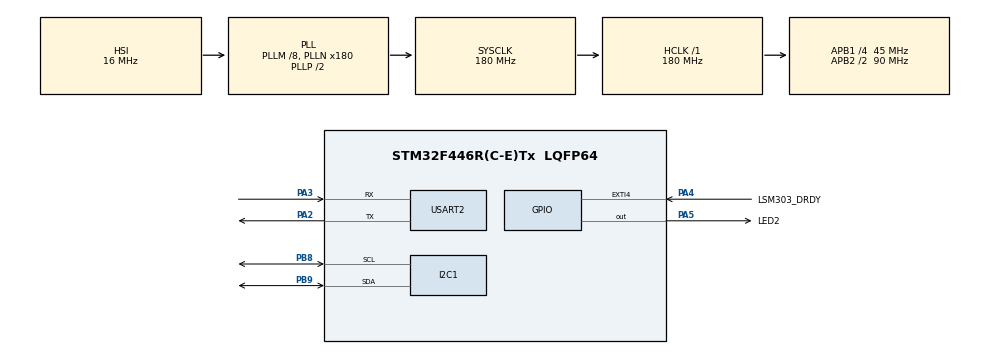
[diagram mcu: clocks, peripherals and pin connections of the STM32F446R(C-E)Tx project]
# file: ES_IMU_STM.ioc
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Dma.Request0=USART2_TX
Dma.USART2_TX.0.Direction=DMA_MEMORY_TO_PERIPH
Dma.USART2_TX.0.FIFOMode=DMA_FIFOMODE_DISABLE
Dma.USART2_TX.0.Instance=DMA1_Stream6
Dma.USART2_TX.0.MemDataAlignment=DMA_MDATAALIGN_BYTE
Dma.USART2_TX.0.MemInc=DMA_MINC_ENABLE
Dma.USART2_TX.0.Mode=DMA_NORMAL
Dma.USART2_TX.0.PeriphDataAlignment=DMA_PDATAALIGN_BYTE
Dma.USART2_TX.0.PeriphInc=DMA_PINC_DISABLE
Dma.USART2_TX.0.Priority=DMA_PRIORITY_LOW
FREERTOS.BinarySemaphores01=lsm303DrdyBinarySem,Dynamic,NULL
FREERTOS.Queues01=acquisitionToAlgorithmQueue,1,data_mems_t,0,Dynamic,NULL,NULL
FREERTOS.Tasks01=defaultTask,16,128,StartDefaultTask,Default,NULL,Dynamic,NULL,NULL;acquisitionTask,40,512,StartAcquisitionTask,Default,NULL,Dynamic,NULL,NULL;algorithmTask,32,512,StartAlgorithmTask,Default,NULL,Dynamic,NULL,NULL;logTask,24,512,StartLogTask,Default,NULL,Dynamic,NULL,NULL
FREERTOS.Timers01=acquisitionCycleTimer,acquisitionCycleTimerCallback,osTimerPeriodic,Default,NULL,Dynamic,NULL
FREERTOS.configENABLE_FPU=1
FREERTOS.configUSE_NEWLIB_REENTRANT=0
FREERTOS.configUSE_TICKLESS_IDLE=0
Mcu.Family=STM32F4
Mcu.Name=STM32F446R(C-E)Tx
Mcu.Package=LQFP64
NVIC.DMA1_Stream6_IRQn=true\:5\:0\:false\:false\:true\:true\:false\:true
NVIC.PriorityGroup=NVIC_PRIORITYGROUP_4
NVIC.TIM6_DAC_IRQn=true\:0\:0\:false\:false\:true\:false\:false\:true
NVIC.TimeBase=TIM6_DAC_IRQn
NVIC.TimeBaseIP=TIM6
NVIC.USART2_IRQn=true\:5\:0\:false\:false\:true\:true\:true\:true
PA2.Mode=Asynchronous
PA2.Signal=USART2_TX
PA3.Mode=Asynchronous
PA3.Signal=USART2_RX
PA4.GPIO_Label=LSM303_DRDY
PA4.Signal=GPXTI4
PA5.GPIO_Label=LED2
PA5.Signal=GPIO_Output
PB8.Mode=I2C
PB8.Signal=I2C1_SCL
PB9.Mode=I2C
PB9.Signal=I2C1_SDA
ProjectManager.HeapSize=0x200
ProjectManager.StackSize=0x400
ProjectManager.TargetToolchain=STM32CubeIDE
RCC.AHBFreq_Value=180000000
RCC.APB1CLKDivider=RCC_HCLK_DIV4
RCC.APB1Freq_Value=45000000
RCC.APB1TimFreq_Value=90000000
RCC.APB2CLKDivider=RCC_HCLK_DIV2
RCC.APB2Freq_Value=90000000
RCC.APB2TimFreq_Value=180000000
RCC.CortexFreq_Value=180000000
RCC.HCLKFreq_Value=180000000
RCC.PLLM=8
RCC.PLLN=180
RCC.SYSCLKFreq_VALUE=180000000
RCC.SYSCLKSource=RCC_SYSCLKSOURCE_PLLCLK
RCC.USBFreq_Value=180000000
RCC.VCOOutputFreq_Value=360000000
USART2.VirtualMode=VM_ASYNC
VP_FREERTOS_VS_CMSIS_V2.Mode=CMSIS_V2
VP_SYS_VS_tim6.Mode=TIM6
board=custom

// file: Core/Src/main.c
/* USER CODE BEGIN Header */
/**
 ******************************************************************************
 * @file           : main.c
 * @brief          : Main program body
 ******************************************************************************
 * @attention
 *
 * <h2><center>&copy; Copyright (c) 2020 STMicroelectronics.
 * All rights reserved.</center></h2>
 *
 * This software component is licensed by ST under BSD 3-Clause license,
 * the "License"; You may not use this file except in compliance with the
 * License. You may obtain a copy of the License at:
 *                        opensource.org/licenses/BSD-3-Clause
 *
 ******************************************************************************
 */
/* USER CODE END Header */
#include "main.h"
#include "cmsis_os.h"
#include "dma.h"
#include "i2c.h"
#include "usart.h"
#include "gpio.h"

void SystemClock_Config(void);
void MX_FREERTOS_Init(void);

int main(void)
{

  /* MCU Configuration--------------------------------------------------------*/

  /* Reset of all peripherals, Initializes the Flash interface and the Systick. */
  HAL_Init();

  /* Configure the system clock */
  SystemClock_Config();

  /* Initialize all configured peripherals */
  MX_GPIO_Init();
  MX_DMA_Init();
  MX_I2C1_Init();
  MX_USART2_UART_Init();

  /* Init scheduler */
  osKernelInitialize();  /* Call init function for freertos objects (in freertos.c) */
  MX_FREERTOS_Init();
  /* Start scheduler */
  osKernelStart();

  /* We should never get here as control is now taken by the scheduler */
  /* Infinite loop */
	while (1) {

	}
}

void SystemClock_Config(void)
{
  RCC_OscInitTypeDef RCC_OscInitStruct = {0};
  RCC_ClkInitTypeDef RCC_ClkInitStruct = {0};

  /** Configure the main internal regulator output voltage
  */
  __HAL_RCC_PWR_CLK_ENABLE();
  __HAL_PWR_VOLTAGESCALING_CONFIG(PWR_REGULATOR_VOLTAGE_SCALE1);
  /** Initializes the RCC Oscillators according to the specified parameters
  * in the RCC_OscInitTypeDef structure.
  */
  RCC_OscInitStruct.OscillatorType = RCC_OSCILLATORTYPE_HSI;
  RCC_OscInitStruct.HSIState = RCC_HSI_ON;
  RCC_OscInitStruct.HSICalibrationValue = RCC_HSICALIBRATION_DEFAULT;
  RCC_OscInitStruct.PLL.PLLState = RCC_PLL_ON;
  RCC_OscInitStruct.PLL.PLLSource = RCC_PLLSOURCE_HSI;
  RCC_OscInitStruct.PLL.PLLM = 8;
  RCC_OscInitStruct.PLL.PLLN = 180;
  RCC_OscInitStruct.PLL.PLLP = RCC_PLLP_DIV2;
  RCC_OscInitStruct.PLL.PLLQ = 2;
  RCC_OscInitStruct.PLL.PLLR = 2;
  if (HAL_RCC_OscConfig(&RCC_OscInitStruct) != HAL_OK)
  {
    Error_Handler();
  }
  /** Activate the Over-Drive mode
  */
  if (HAL_PWREx_EnableOverDrive() != HAL_OK)
  {
    Error_Handler();
  }
  /** Initializes the CPU, AHB and APB buses clocks
  */
  RCC_ClkInitStruct.ClockType = RCC_CLOCKTYPE_HCLK|RCC_CLOCKTYPE_SYSCLK
                              |RCC_CLOCKTYPE_PCLK1|RCC_CLOCKTYPE_PCLK2;
  RCC_ClkInitStruct.SYSCLKSource = RCC_SYSCLKSOURCE_PLLCLK;
  RCC_ClkInitStruct.AHBCLKDivider = RCC_SYSCLK_DIV1;
  RCC_ClkInitStruct.APB1CLKDivider = RCC_HCLK_DIV4;
  RCC_ClkInitStruct.APB2CLKDivider = RCC_HCLK_DIV2;

  if (HAL_RCC_ClockConfig(&RCC_ClkInitStruct, FLASH_LATENCY_5) != HAL_OK)
  {
    Error_Handler();
  }
}

 /**
  * @brief  Period elapsed callback in non blocking mode
  * @note   This function is called  when TIM6 interrupt took place, inside
  * HAL_TIM_IRQHandler(). It makes a direct call to HAL_IncTick() to increment
  * a global variable "uwTick" used as application time base.
  * @param  htim : TIM handle
  * @retval None
  */
void HAL_TIM_PeriodElapsedCallback(TIM_HandleTypeDef *htim)
{
  if (htim->Instance == TIM6) {
    HAL_IncTick();
  }
}

void Error_Handler(void)
{
  /* USER CODE BEGIN Error_Handler_Debug */
	/* User can add his own implementation to report the HAL error return state */
	HAL_GPIO_WritePin(LED2_GPIO_Port, LED2_Pin, GPIO_PIN_SET);
	while(1);
  /* USER CODE END Error_Handler_Debug */
}

/************************ (C) COPYRIGHT STMicroelectronics *****END OF FILE****/

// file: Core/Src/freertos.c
/* USER CODE BEGIN Header */
/**
  ******************************************************************************
  * File Name          : freertos.c
  * Description        : Code for freertos applications
  ******************************************************************************
  * @attention
  *
  * <h2><center>&copy; Copyright (c) 2020 STMicroelectronics.
  * All rights reserved.</center></h2>
  *
  * This software component is licensed by ST under Ultimate Liberty license
  * SLA0044, the "License"; You may not use this file except in compliance with
  * the License. You may obtain a copy of the License at:
  *                             www.st.com/SLA0044
  *
  ******************************************************************************
  */
/* USER CODE END Header */

#include "FreeRTOS.h"
#include "task.h"
#include "main.h"
#include "cmsis_os.h"

/* USER CODE BEGIN Includes */
#include <string.h>
#include <stdio.h>
#include "i2c.h"
#include "usart.h"
#include "retarget.h"
#include "lsm6dsl_reg.h"
#include "lsm303agr_reg.h"
#ifdef MADGWICK_C_CODED
#include "ahrs_madgwick.h"
#endif
#ifdef MADGWICK_MATLAB_CODED
#include "Algorithm.h"
#endif
/* USER CODE END Includes */

/* USER CODE BEGIN PTD */
typedef union {
	int16_t i16bit[3];
	uint8_t u8bit[6];
} axis3bit16_t;

typedef struct {
	float ax[3];
} axis3_t;

typedef union {
	int16_t i16bit;
	uint8_t u8bit[2];
} temp16_t;

typedef struct {
	axis3_t acc;
	axis3_t gyro;
	float temp;
} data_mems_t;

typedef enum {
	LSM6DSL_id = 0,
	LSM303AGR_XL_id,
	LSM303AGR_MG_id
} sensor_t;

typedef struct {
    float x;
    float y;
    float z;
    float w;
} quaternion_t;
/* USER CODE END PTD */

/* USER CODE BEGIN Variables */
extern UART_HandleTypeDef huart2;

/* Definitions for algorithmToLogQueue */
osMessageQueueId_t algorithmToLogQueueHandle;
const osMessageQueueAttr_t algorithmToLogQueue_attributes = {
  .name = "algorithmToLogQueue"
};
/* USER CODE END Variables */
/* Definitions for defaultTask */
osThreadId_t defaultTaskHandle;
const osThreadAttr_t defaultTask_attributes = {
  .name = "defaultTask",
  .priority = (osPriority_t) osPriorityBelowNormal,
  .stack_size = 128 * 4
};
/* Definitions for acquisitionTask */
osThreadId_t acquisitionTaskHandle;
const osThreadAttr_t acquisitionTask_attributes = {
  .name = "acquisitionTask",
  .priority = (osPriority_t) osPriorityHigh,
  .stack_size = 512 * 4
};
/* Definitions for algorithmTask */
osThreadId_t algorithmTaskHandle;
const osThreadAttr_t algorithmTask_attributes = {
  .name = "algorithmTask",
  .priority = (osPriority_t) osPriorityAboveNormal,
  .stack_size = 512 * 4
};
/* Definitions for logTask */
osThreadId_t logTaskHandle;
const osThreadAttr_t logTask_attributes = {
  .name = "logTask",
  .priority = (osPriority_t) osPriorityNormal,
  .stack_size = 512 * 4
};
/* Definitions for acquisitionToAlgorithmQueue */
osMessageQueueId_t acquisitionToAlgorithmQueueHandle;
const osMessageQueueAttr_t acquisitionToAlgorithmQueue_attributes = {
  .name = "acquisitionToAlgorithmQueue"
};
/* Definitions for acquisitionCycleTimer */
osTimerId_t acquisitionCycleTimerHandle;
const osTimerAttr_t acquisitionCycleTimer_attributes = {
  .name = "acquisitionCycleTimer"
};
/* Definitions for lsm303DrdyBinarySem */
osSemaphoreId_t lsm303DrdyBinarySemHandle;
const osSemaphoreAttr_t lsm303DrdyBinarySem_attributes = {
  .name = "lsm303DrdyBinarySem"
};

/* USER CODE BEGIN FunctionPrototypes */
static int32_t lsm6dsl_read(void *handle, uint8_t Reg, uint8_t *Bufp, uint16_t len);
static int32_t lsm6dsl_write(void *handle, uint8_t Reg, uint8_t *Bufp, uint16_t len);

static int32_t lsm303agr_mg_read(void *handle, uint8_t Reg, uint8_t *Bufp, uint16_t len);
static int32_t lsm303agr_mg_write(void *handle, uint8_t Reg, uint8_t *Bufp,	uint16_t len);
/* USER CODE END FunctionPrototypes */

void StartDefaultTask(void *argument);
void StartAcquisitionTask(void *argument);
void StartAlgorithmTask(void *argument);
void StartLogTask(void *argument);
void acquisitionCycleTimerCallback(void *argument);

void MX_FREERTOS_Init(void); /* (MISRA C 2004 rule 8.1) */

void MX_FREERTOS_Init(void) {

  /* Create the semaphores(s) */
  /* creation of lsm303DrdyBinarySem */
  lsm303DrdyBinarySemHandle = osSemaphoreNew(1, 1, &lsm303DrdyBinarySem_attributes);

  /* Create the timer(s) */
  /* creation of acquisitionCycleTimer */
  acquisitionCycleTimerHandle = osTimerNew(acquisitionCycleTimerCallback, osTimerPeriodic, NULL, &acquisitionCycleTimer_attributes);

  /* Create the queue(s) */
  /* creation of acquisitionToAlgorithmQueue */
  acquisitionToAlgorithmQueueHandle = osMessageQueueNew (1, sizeof(data_mems_t), &acquisitionToAlgorithmQueue_attributes);

  /* USER CODE BEGIN RTOS_QUEUES */
#ifdef MADGWICK_C_CODED
  algorithmToLogQueueHandle = osMessageQueueNew (1, sizeof(euler_ang_t), &algorithmToLogQueue_attributes);
#endif

#ifdef MADGWICK_MATLAB_CODED
  algorithmToLogQueueHandle = osMessageQueueNew (1, sizeof(quaternion_t), &algorithmToLogQueue_attributes);
#endif
  /* add queues, ... */
  /* USER CODE END RTOS_QUEUES */

  /* Create the thread(s) */
  /* creation of defaultTask */
  defaultTaskHandle = osThreadNew(StartDefaultTask, NULL, &defaultTask_attributes);

  /* creation of acquisitionTask */
  acquisitionTaskHandle = osThreadNew(StartAcquisitionTask, NULL, &acquisitionTask_attributes);

  /* creation of algorithmTask */
  algorithmTaskHandle = osThreadNew(StartAlgorithmTask, NULL, &algorithmTask_attributes);

  /* creation of logTask */
  logTaskHandle = osThreadNew(StartLogTask, NULL, &logTask_attributes);

}

void StartDefaultTask(void *argument)
{
  /* USER CODE BEGIN StartDefaultTask */
  /* Infinite loop */
  for(;;)
  {
    osDelay(10);
  }
  /* USER CODE END StartDefaultTask */
}

void StartAcquisitionTask(void *argument)
{
  /* USER CODE BEGIN StartAcquisitionTask */
	osStatus_t status = osOK;

	axis3bit16_t acc_raw;
	axis3bit16_t gyro_raw;
	axis3bit16_t magneto_raw;
	temp16_t temp_raw;

	data_mems_t data_mems;

	// Set handles for sensor communication
	stmdev_ctx_t lsm6dsl_ctx;
	lsm6dsl_ctx.write_reg = lsm6dsl_write;
	lsm6dsl_ctx.read_reg = lsm6dsl_read;
	lsm6dsl_ctx.handle = &hi2c1;

	stmdev_ctx_t lsm303agr_ctx;
	lsm303agr_ctx.write_reg = lsm303agr_mg_write;
	lsm303agr_ctx.read_reg = lsm303agr_mg_read;
	lsm303agr_ctx.handle = &hi2c1;

	uint8_t whoamI = 0, rst = 0;

	// Test communication with the sensors and reset their settings
	lsm6dsl_device_id_get(&lsm6dsl_ctx, &whoamI);
	if (whoamI != LSM6DSL_ID) {
		Error_Handler();
	} else {
		lsm6dsl_reset_set(&lsm6dsl_ctx, PROPERTY_ENABLE);
		do {
			lsm6dsl_reset_get(&lsm6dsl_ctx, &rst);
		} while (rst);
		rst = 0;
	}

	lsm303agr_mag_device_id_get(&lsm303agr_ctx, &whoamI);
	if (whoamI != LSM303AGR_ID_MG) {
		Error_Handler();
	} else {
		lsm303agr_mag_reset_set(&lsm303agr_ctx, PROPERTY_ENABLE);
		do {
			lsm303agr_mag_reset_get(&lsm303agr_ctx, &rst);
		} while (rst);
		rst = 0;
	}

	lsm6dsl_block_data_update_set(&lsm6dsl_ctx, PROPERTY_ENABLE);
	lsm6dsl_xl_data_rate_set(&lsm6dsl_ctx, LSM6DSL_XL_ODR_104Hz);
	lsm6dsl_gy_data_rate_set(&lsm6dsl_ctx, LSM6DSL_GY_ODR_104Hz);
	lsm6dsl_xl_full_scale_set(&lsm6dsl_ctx, LSM6DSL_4g);
	lsm6dsl_gy_full_scale_set(&lsm6dsl_ctx, LSM6DSL_2000dps);

	lsm303agr_mag_block_data_update_set(&lsm303agr_ctx, PROPERTY_ENABLE);
	lsm303agr_mag_data_rate_set(&lsm303agr_ctx, LSM303AGR_MG_ODR_10Hz);
	lsm303agr_mag_set_rst_mode_set(&lsm303agr_ctx, LSM303AGR_SENS_OFF_CANC_EVERY_ODR);
	lsm303agr_mag_operating_mode_set(&lsm303agr_ctx, LSM303AGR_CONTINUOUS_MODE);

	osTimerStart(acquisitionCycleTimerHandle, 10U);

	/* Infinite loop */
  for(;;)
  {
  	status = osSemaphoreAcquire(lsm303DrdyBinarySemHandle, osWaitForever);

  	if (status == osOK) {
  	  lsm6dsl_acceleration_raw_get(&lsm6dsl_ctx, acc_raw.u8bit);
  	  lsm6dsl_angular_rate_raw_get(&lsm6dsl_ctx, gyro_raw.u8bit);
  	  lsm303agr_magnetic_raw_get(&lsm303agr_ctx, magneto_raw.u8bit);
  		lsm6dsl_temperature_raw_get(&lsm6dsl_ctx, temp_raw.u8bit);

			data_mems.acc.ax[0] = lsm6dsl_from_fs4g_to_mg(acc_raw.i16bit[0])*0.001;
			data_mems.acc.ax[1] = lsm6dsl_from_fs4g_to_mg(acc_raw.i16bit[1])*0.001;
			data_mems.acc.ax[2] = lsm6dsl_from_fs4g_to_mg(acc_raw.i16bit[2])*0.001;

			data_mems.gyro.ax[0] = lsm6dsl_from_fs2000dps_to_mdps(gyro_raw.i16bit[0])*0.001;
			data_mems.gyro.ax[1] = lsm6dsl_from_fs2000dps_to_mdps(gyro_raw.i16bit[1])*0.001;
			data_mems.gyro.ax[2] = lsm6dsl_from_fs2000dps_to_mdps(gyro_raw.i16bit[2])*0.001;

			for (size_t axes_it = 0; axes_it < 3; axes_it++)
			{
				data_mems.gyro.ax[axes_it] = ((data_mems.gyro.ax[axes_it] < 0.1) && (data_mems.gyro.ax[axes_it] > 0.1)) ? data_mems.gyro.ax[axes_it] : 0;
			}

			data_mems.temp = lsm6dsl_from_lsb_to_celsius(temp_raw.i16bit);

  		osMessageQueuePut(acquisitionToAlgorithmQueueHandle, &data_mems, 0U, 0U);
  	}

    osDelay(8);
  }

  /* USER CODE END StartAcquisitionTask */
}

void StartAlgorithmTask(void *argument)
{
  /* USER CODE BEGIN StartAlgorithmTask */
#ifdef MADGWICK_C_CODED
	osStatus_t status;

	data_mems_t data_mems;
	euler_ang_t euler_ang;

//	Algorithm_initialize();
  /* Infinite loop */
  for(;;)
  {
  	status = osMessageQueueGet(acquisitionToAlgorithmQueueHandle, &data_mems, NULL, 0U);   // wait for message

  	if (status == osOK)
  	{
  		MadgwickAHRSupdateIMU(data_mems.gyro.ax[0], data_mems.gyro.ax[1], data_mems.gyro.ax[2], data_mems.acc.ax[0], data_mems.acc.ax[1], data_mems.acc.ax[2]);
  		ToEulerAngles(&euler_ang);

			status = osMessageQueuePut(algorithmToLogQueueHandle, &euler_ang, 0U, 0U);
  	}
    osDelay(8);
  }
#endif

#ifdef MADGWICK_MATLAB_CODED
    osStatus_t status;

    data_mems_t data_mems;
  	quaternion_t quaternion;

  	Algorithm_initialize();
    /* Infinite loop */
    for(;;)
    {
    	status = osMessageQueueGet(acquisitionToAlgorithmQueueHandle, &data_mems, NULL, 0U);   // wait for message

    	if (status == osOK)
    	{
			Algorithm_U.AccX = data_mems.acc.ax[0];
			Algorithm_U.AccY = data_mems.acc.ax[1];
			Algorithm_U.AccZ = data_mems.acc.ax[2];
			Algorithm_U.GyroX = data_mems.gyro.ax[0];
			Algorithm_U.GyroY = data_mems.gyro.ax[1];
			Algorithm_U.GyroZ = data_mems.gyro.ax[2];

  			Algorithm_step();
  			quaternion.w = Algorithm_Y.Quat[0];
  			quaternion.x = Algorithm_Y.Quat[1];
  			quaternion.y = Algorithm_Y.Quat[2];
  			quaternion.z = Algorithm_Y.Quat[3];

  			status = osMessageQueuePut(algorithmToLogQueueHandle, &quaternion, 0U, 0U);
    	}

      osDelay(9);
    }
#endif
  /* USER CODE END StartAlgorithmTask */
}

void StartLogTask(void *argument)
{
  /* USER CODE BEGIN StartLogTask */
#ifdef MADGWICK_C_CODED
	osStatus_t status = osOK;
	euler_ang_t euler_ang;
	uint8_t log_payload[100];
	uint8_t log_size = 0;
  /* Infinite loop */
  for(;;)
  {
  	status = osMessageQueueGet(algorithmToLogQueueHandle, &euler_ang, NULL, 0U);

  	if (status == osOK) {
  		euler_ang.roll = euler_ang.roll*180.0/PI;
  		euler_ang.pitch = euler_ang.pitch*180.0/PI;
  		euler_ang.yaw = euler_ang.yaw*180.0/PI;

  		log_size = sprintf((char*)log_payload, "Roll: %.3f\t Pitch: %.3f\t Yaw: %.3f\r\n", euler_ang.roll, euler_ang.pitch, euler_ang.yaw);
  		HAL_UART_Transmit_DMA(&huart2, log_payload, log_size);

  	}

    osDelay(8);
  }
#endif

#ifdef MADGWICK_MATLAB_CODED
	osStatus_t status = osOK;
	quaternion_t quaternion;
	uint8_t log_payload[100];
	uint8_t log_size = 0;

	/* Infinite loop */
  for(;;)
  {
  	status = osMessageQueueGet(algorithmToLogQueueHandle, &quaternion, NULL, 0U);

  	if (status == osOK)
  	{
  		log_size = sprintf((char*)log_payload, "w%.3fwa%.3fab%.3fbc%.3fc\r\n", quaternion.w, quaternion.x, quaternion.y, quaternion.z);
  		HAL_UART_Transmit_DMA(&huart2, log_payload, log_size);
  	}

    osDelay(8);
  }
#endif
  /* USER CODE END StartLogTask */
}

/* acquisitionCycleTimerCallback function */
void acquisitionCycleTimerCallback(void *argument)
{
  /* USER CODE BEGIN acquisitionCycleTimerCallback */
	osSemaphoreRelease(lsm303DrdyBinarySemHandle);
  /* USER CODE END acquisitionCycleTimerCallback */
}

/* USER CODE BEGIN Application */
static int32_t lsm6dsl_write(void *handle, uint8_t Reg, uint8_t *Bufp,
		uint16_t len) {
	if (handle == &hi2c1) {
		HAL_I2C_Mem_Write(handle, LSM6DSL_I2C_ADD_H, Reg,
		I2C_MEMADD_SIZE_8BIT, Bufp, len, HAL_MAX_DELAY);
	}
	return 0;
}

static int32_t lsm6dsl_read(void *handle, uint8_t Reg, uint8_t *Bufp,
		uint16_t len) {
	uint16_t ret = 0;
	if (handle == &hi2c1) {
		ret = HAL_I2C_Mem_Read(handle, LSM6DSL_I2C_ADD_H, Reg,
		I2C_MEMADD_SIZE_8BIT, Bufp, len, HAL_MAX_DELAY);
	}
	return ret;
}

static int32_t lsm303agr_mg_write(void *handle, uint8_t Reg, uint8_t *Bufp,
		uint16_t len) {
	if (handle == &hi2c1) {
		HAL_I2C_Mem_Write(handle, LSM303AGR_I2C_ADD_MG, Reg,
		I2C_MEMADD_SIZE_8BIT, Bufp, len, HAL_MAX_DELAY);
	}
	return 0;
}

static int32_t lsm303agr_mg_read(void *handle, uint8_t Reg, uint8_t *Bufp,
		uint16_t len) {
	uint16_t ret = 0;
	if (handle == &hi2c1) {
		ret = HAL_I2C_Mem_Read(handle, LSM303AGR_I2C_ADD_MG, Reg,
		I2C_MEMADD_SIZE_8BIT, Bufp, len, HAL_MAX_DELAY);
	}
	return ret;
}

/* USER CODE END Application */

/************************ (C) COPYRIGHT STMicroelectronics *****END OF FILE****/
